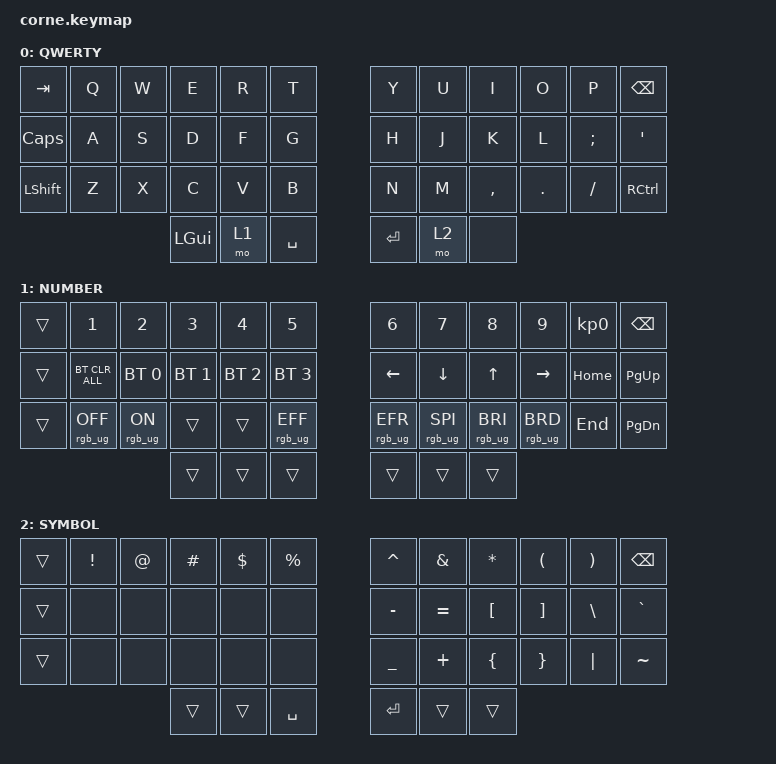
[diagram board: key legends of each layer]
/*
 * Copyright (c) 2020 The ZMK Contributors
 *
 * SPDX-License-Identifier: MIT
 */

#include <behaviors.dtsi>
#include <dt-bindings/zmk/bt.h>
#include <dt-bindings/zmk/keys.h>
#include <dt-bindings/zmk/rgb.h>

/ {
    chosen {
        zmk,matrix_transform = &default_transform;

        // zmk,matrix_transform = &five_column_transform;
    };
};

/ {
    behaviors {
        td0: td0 {
            compatible = "zmk,behavior-tap-dance";
            label = "TD0";
            #binding-cells = <0>;
            bindings = <&kp LEFT_SHIFT>, <&kp CAPS>;
        };
    };

    keymap {
        compatible = "zmk,keymap";

        default_layer {
            display-name = "QWERTY";

            // --------------------------------------------------------------------------------
            // |  TAB |  Q  |  W  |  E  |  R  |  T  |   |  Y  |  U   |  I  |  O  |  P  | BKSP |
            // | CTRL |  A  |  S  |  D  |  F  |  G  |   |  H  |  J   |  K  |  L  |  ;  |  '   | 
            // | SHFT |  Z  |  X  |  C  |  V  |  B  |   |  N  |  M   |  ,  |  .  |  /  | ESC  |
            //                    | GUI | LWR | SPC |   | ENT | RSE  | ALT |

            bindings = <
&kp TAB         &kp Q  &kp W  &kp E     &kp R  &kp T        &kp Y      &kp U  &kp I      &kp O    &kp P     &kp BSPC
&kp CAPSLOCK    &kp A  &kp S  &kp D     &kp F  &kp G        &kp H      &kp J  &kp K      &kp L    &kp SEMI  &kp SQT
&kp LEFT_SHIFT  &kp Z  &kp X  &kp C     &kp V  &kp B        &kp N      &kp M  &kp COMMA  &kp DOT  &kp FSLH  &kp RIGHT_CONTROL
                              &kp LGUI  &mo 1  &kp SPACE    &kp ENTER  &mo 2  &none
            >;
        };

        lower_layer {
            display-name = "NUMBER";

            // -----------------------------------------------------------------------------------------
            // |  TAB |  1  |  2  |  3  |  4  |  5  |   |  6  |  7  |  8  |  9  |  0  | BKSP |
            // | BTCLR| BT1 | BT2 | BT3 | BT4 | BT5 |   | LFT | DWN |  UP | RGT |     |      |
            // | SHFT |     |     |     |     |     |   |     |     |     |     |     |      |
            //                    | GUI |     | SPC |   | ENT |     | ALT |

            bindings = <
&trans  &kp NUMBER_1     &kp NUMBER_2    &kp NUMBER_3  &kp NUMBER_4  &kp N5             &kp NUMBER_6     &kp NUMBER_7     &kp NUMBER_8     &kp NUMBER_9     &kp KP_NUMBER_0  &kp BSPC
&trans  &bt BT_CLR_ALL   &bt BT_SEL 0    &bt BT_SEL 1  &bt BT_SEL 2  &bt BT_SEL 3       &kp LEFT         &kp DOWN         &kp UP           &kp RIGHT        &kp HOME         &kp PG_UP
&trans  &rgb_ug RGB_OFF  &rgb_ug RGB_ON  &trans        &trans        &rgb_ug RGB_EFF    &rgb_ug RGB_EFR  &rgb_ug RGB_SPI  &rgb_ug RGB_BRI  &rgb_ug RGB_BRD  &kp END          &kp PG_DN
                                         &trans        &trans        &trans             &trans           &trans           &trans
            >;
        };

        raise_layer {
            display-name = "SYMBOL";

            // -----------------------------------------------------------------------------------------
            // |  TAB |  !  |  @  |  #  |  $  |  %  |   |  ^  |  &  |  *  |  (  |  )  | BKSP |
            // | CTRL |     |     |     |     |     |   |  -  |  =  |  [  |  ]  |  \  |  `   |
            // | SHFT |     |     |     |     |     |   |  _  |  +  |  {  |  }  | "|" |  ~   |
            //                    | GUI |     | SPC |   | ENT |     | ALT |

            bindings = <
&trans  &kp EXCL  &kp AT  &kp HASH  &kp DLLR  &kp PRCNT    &kp CARET  &kp AMPS   &kp ASTRK  &kp LPAR  &kp RPAR  &kp BSPC
&trans  &none     &none   &none     &none     &none        &kp MINUS  &kp EQUAL  &kp LBKT   &kp RBKT  &kp BSLH  &kp GRAVE
&trans  &none     &none   &none     &none     &none        &kp UNDER  &kp PLUS   &kp LBRC   &kp RBRC  &kp PIPE  &kp TILDE
                          &trans    &trans    &kp SPACE    &kp RET    &trans     &trans
            >;
        };
    };
};
